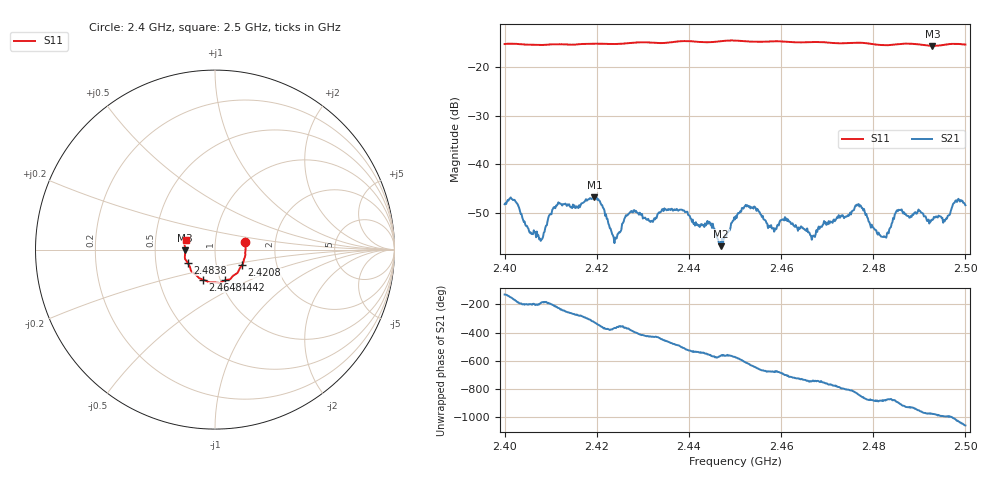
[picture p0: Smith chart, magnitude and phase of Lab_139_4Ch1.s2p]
# Hz S RI R 50
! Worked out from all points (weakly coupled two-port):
!   601 points, 2.4 GHz to 2.5 GHz, reference 50 ohm
!   highest |S21| = -46.79 dB at 2.4195 GHz (marker M1); lowest = -56.9 dB at 2.447 GHz (marker M2)
!   lowest |S11| = -15.6 dB at 2.4928 GHz (marker M3), VSWR 1.40, Z = 35.8 - j0.356 ohm
!   |S11| at or under -10 dB: start of sweep to end of sweep
!   S12 and S22 are empty: the file has one direction only
!   S11 on the Smith chart (normalised r, x): 2.4 GHz: 1.40, +0.12; 2.4208 GHz: 1.33, -0.24; 2.4442 GHz: 1.05, -0.37; 2.4648 GHz: 0.83, -0.28; 2.4838 GHz: 0.73, -0.11; 2.5 GHz: 0.72, +0.08
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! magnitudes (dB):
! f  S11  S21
! 2.4 GHz  -15.2  -48.2
! 2.4023 GHz  -15.2  -47.6
! 2.4078 GHz  -15.4  -55.8
! 2.4112 GHz  -15.3  -48.5
! 2.4167 GHz  -15.2  -48.1
! 2.4195 GHz  -15.2  -46.8
! 2.4208 GHz  -15.2  -48.1
! 2.4238 GHz  -15.2  -56.3
! 2.4277 GHz  -15.0  -49.8
! 2.4333 GHz  -15.0  -50.2
! 2.4442 GHz  -14.9  -52.3
! 2.447 GHz  -14.7  -56.9
! 2.45 GHz  -14.5  -51.4
! 2.4527 GHz  -14.7  -48.5
! 2.4648 GHz  -14.9  -53.3
! 2.4667 GHz  -14.8  -55.6
! 2.4767 GHz  -15.0  -48.5
! 2.4833 GHz  -15.5  -54.3
! 2.4838 GHz  -15.4  -53.0
! 2.4857 GHz  -15.2  -49.5
! 2.4928 GHz  -15.6  -51.5
! 2.5 GHz  -15.3  -48.5
